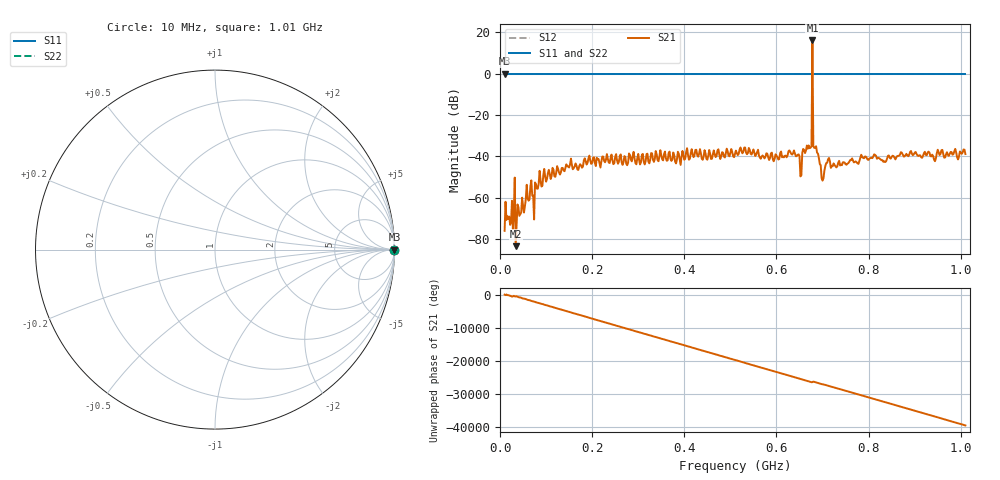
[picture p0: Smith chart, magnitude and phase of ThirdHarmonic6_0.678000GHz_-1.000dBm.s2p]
! 8/15/2025 10:36:29 PM
! C:\ANRITSUVNA\TEMP\TEMP.S2P
! CHANNEL.1
! TR.MEASUREMENT
! RAW.DATA
! RF.CORRECTION.OFF
! AVERAGING.OFF
! IF.BANDWIDTH: 5KHZ
! SWEEPTYPE:  FREQ.SWEEP(Linear)
! Reference Plane Port Info
! PORT:  PORT1  PORT2
! DISTANCE:  0  m  0  m
! TIME:  0  s  0  s
! PHASE.OFFSET:  0  deg.  0  deg.
! LOSS:  0  dB  0  dB
! REF.LOSS:  0  dB  0  dB
! REF.FREQ:  0  Hz  0  Hz
! Power Info
! POWER:  -20  dBm  -20  dBm
! EFF.POWER:  -20  dBm  -20  dBm
! SOURCE.ATTEN:  0  dB  0  dB
! TEST.ATTEN:  0  dB  0  dB
# GHZ S RI R 50.0
! FREQ.GHZ  S11RE  S11IM  S21RE  S21IM  S12RE  S12IM  S22RE  S22IM
!; PortSelection: Port_12
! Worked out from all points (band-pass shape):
!   501 points, 10 MHz to 1.01 GHz, reference 50 ohm
!   highest |S21| = 16.08 dB at 678 MHz (marker M1); lowest = -83.5 dB at 34 MHz (marker M2)
!   |S21| within 3 dB of the highest: 677.883 MHz to 678.1172 MHz (234.1 kHz wide, 0.0345 % of centre)
!   lowest |S11| = 0.0 dB at 10 MHz (marker M3)
!   |S11| at or under -10 dB: nowhere
!   |S22| runs from 0.0 to 0.0 dB; largest |S21 - S12| = 6.3
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0.01  1 0  0.000116 0.000107  1 0  1 0
0.026  1 0  -0.00081 0.000218  1 0  1 0
0.028  1 0  -9.4e-05 -0.000145  1 0  1 0
0.034  1 0  -5.55e-05 -3.79e-05  1 0  1 0
0.038  1 0  -0.000605 0.000324  1 0  1 0
0.062  1 0  -0.000652 -0.000542  1 0  1 0
0.074  1 0  0.000125 0.00027  1 0  1 0
0.098  1 0  -0.00311 0.000898  1 0  1 0
0.178  1 0  -0.00534 -4.97e-05  1 0  1 0
0.344  1 0  0.00655 -0.00395  1 0  1 0
0.51  1 0  -0.00876 0.00748  1 0  1 0
0.63  1 0  0.0111 -0.00614  1 0  1 0
0.65  1 0  -0.00275 -0.00982  1 0  1 0
0.672  1 0  0.00365 0.0153  1 0  1 0
0.674  1 0  0.0163 -4.82e-05  1 0  1 0
0.678  1 0  1.031 -6.286  1 0  1 0
0.682  1 0  0.0158 0.00315  1 0  1 0
0.684  1 0  0.00586 -0.0149  1 0  1 0
0.702  1 0  0.00219 -0.00195  1 0  1 0
0.712  1 0  0.000363 -0.00852  1 0  1 0
0.844  1 0  0.00912 0.00514  1 0  1 0
1.01  1 0  -0.0114 0.00102  1 0  1 0
